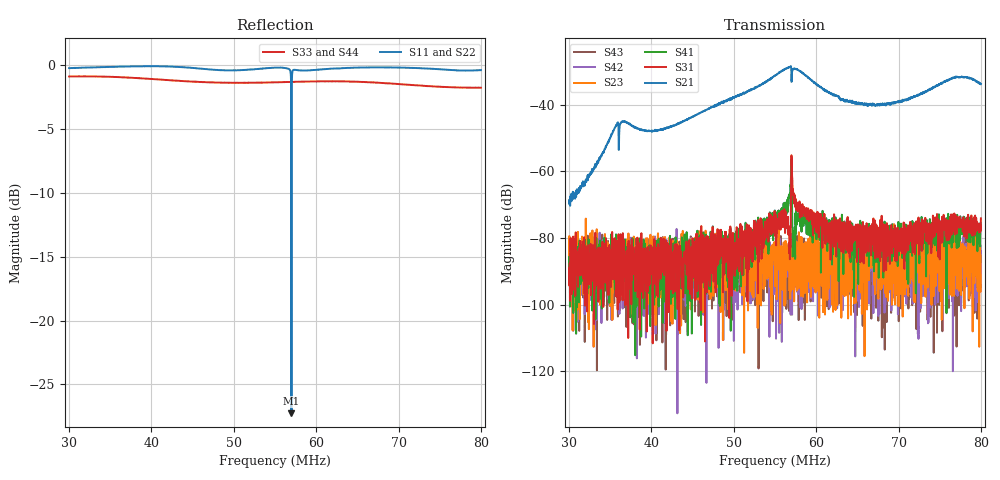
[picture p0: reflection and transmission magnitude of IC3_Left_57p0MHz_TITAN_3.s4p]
#  HZ  S  DB  R  50.00
! Rohde & Schwarz Vector Network Analyzer
! Rohde-Schwarz,ZNB8-4Port,1311601044102961,2.82
! Created: UTC 2/8/2019, 4:24:10 PM
! freq[Hz]  db:S11  ang:S11  db:S12  ang:S12  db:S13  ang:S13  db:S14  ang:S14
!  db:S21  ang:S21  db:S22  ang:S22  db:S23  ang:S23  db:S24  ang:S24
!  db:S31  ang:S31  db:S32  ang:S32  db:S33  ang:S33  db:S34  ang:S34
!  db:S41  ang:S41  db:S42  ang:S42  db:S43  ang:S43  db:S44  ang:S44
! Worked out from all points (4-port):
!   2001 points, 30 MHz to 80 MHz, reference 50 ohm
!   strongest paths, dB at 30 MHz, 42.5 MHz, 55 MHz, 67.5 MHz, 80 MHz:
!     S21: -69.6, -46.4, -31.2, -40.1, -33.7
!     S31: -89.1, -89.7, -74.2, -78.6, -74.1
!     S41: -91.2, -88.4, -72.1, -80.2, -77.3
!     S23: -85.0, -85.3, -94.5, -89.4, -96.1
!     S42: -84.3, -90.6, -86.3, -85.2, -94.4
!     S43: -87.4, -84.4, -82.8, -85.3, -87.3
!   lowest |S11| = -27.3 dB at 57 MHz (marker M1), VSWR 1.09, Z = 46.2 - j1.66 ohm
!   |S11| at or under -10 dB: 56.98185 MHz to 57.01817 MHz (36.31 kHz wide, 0.0637 % of centre)
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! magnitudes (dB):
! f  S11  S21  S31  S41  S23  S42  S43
! 30 MHz  -0.2  -69.6  -89.1  -91.2  -85.0  -84.3  -87.4
! 35.73 MHz  -0.1  -46.1  -97.6  -91.9  -91.5  -90.7  -87.7
! 52.5 MHz  -0.3  -34.9  -77.8  -78.7  -86.0  -89.5  -87.7
! 56.65 MHz  -0.3  -28.7  -78.5  -69.6  -81.6  -85.3  -90.7
! 57 MHz  -27.3  -33.1  -55.1  -56.3  -87.7  -84.1  -89.2
! 66.28 MHz  -0.2  -40.0  -76.9  -81.1  -87.7  -86.9  -84.7
! 80 MHz  -0.4  -33.7  -74.1  -77.3  -96.1  -94.4  -87.3
